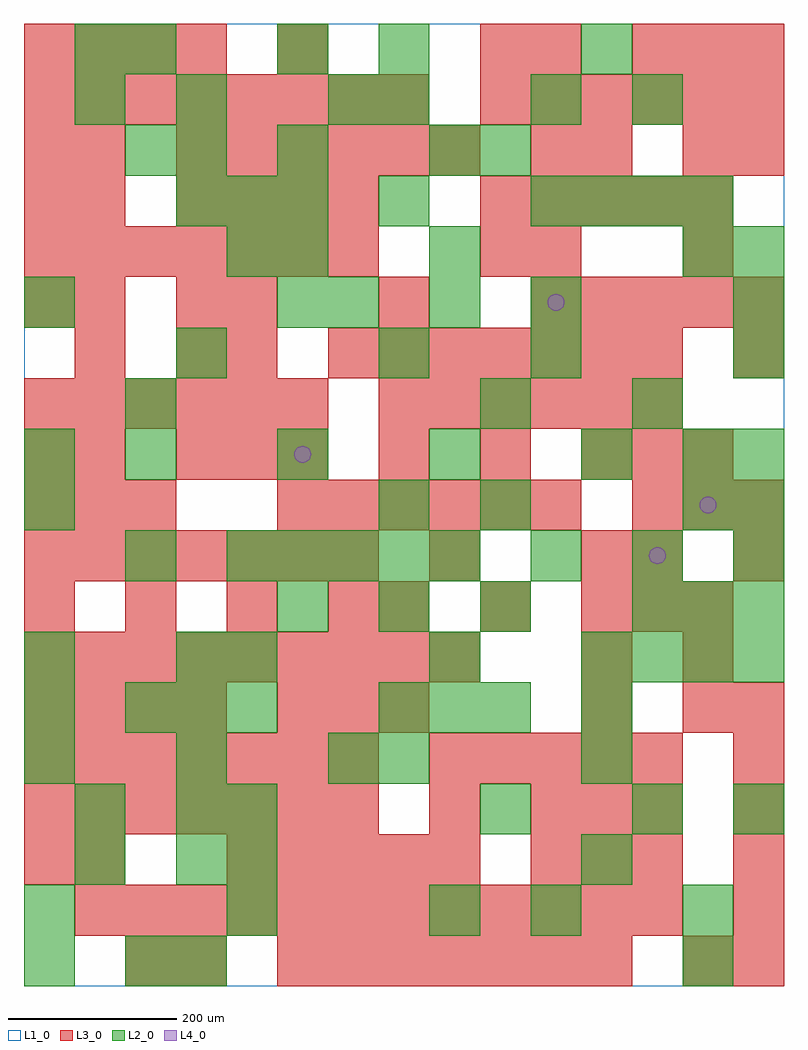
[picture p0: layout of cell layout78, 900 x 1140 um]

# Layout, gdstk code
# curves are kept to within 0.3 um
import gdstk
lib = gdstk.Library(unit=1e-6, precision=1e-09)
def R(c, l, rs):  # rectangles x0, y0, x1, y1
    for r in rs: c.add(gdstk.rectangle(r[:2], r[2:], *l))
def A(c, l, x, y, w, h, nx, ny, dx, dy):  # array of equal rectangles
    R(c, l, [(x+i*dx, y+j*dy, x+i*dx+w, y+j*dy+h) for i in range(nx) for j in range(ny)])
def P(c, l, *ps):  # polygons
    for p in ps: c.add(gdstk.Polygon(p, *l))
L1_0 = (1, 0)
L2_0 = (2, 0)
L3_0 = (3, 0)
L4_0 = (4, 0)

layout78 = lib.new_cell('layout78')
R(layout78, L1_0, [(0,0,900,1140)])
A(layout78, L2_0, 0, 60, 60, 60, 3, 1, 240, 0)
A(layout78, L2_0, 0, 240, 60, 60, 3, 1, 180, 0)
A(layout78, L2_0, 120, 300, 60, 60, 3, 1, 60, 0)
A(layout78, L2_0, 420, 300, 60, 60, 3, 1, 60, 0)
A(layout78, L2_0, 660, 360, 60, 60, 4, 1, 60, 0)
A(layout78, L2_0, 300, 420, 60, 60, 3, 1, 120, 0)
A(layout78, L2_0, 720, 420, 60, 60, 3, 1, 60, 0)
A(layout78, L2_0, 240, 480, 60, 60, 5, 1, 60, 0)
A(layout78, L2_0, 600, 480, 60, 60, 3, 1, 120, 0)
A(layout78, L2_0, 420, 540, 60, 60, 1, 3, 0, 180)
A(layout78, L2_0, 120, 600, 60, 60, 4, 1, 180, 0)
A(layout78, L2_0, 840, 720, 60, 60, 1, 3, 0, 60)
A(layout78, L2_0, 360, 780, 60, 60, 3, 1, 120, 0)
A(layout78, L2_0, 300, 840, 60, 60, 1, 3, 0, 120)
A(layout78, L2_0, 180, 900, 60, 60, 3, 1, 60, 0)
A(layout78, L2_0, 600, 900, 60, 60, 4, 1, 60, 0)
R(layout78, L2_0, [(0,0,60,60), (120,0,180,60), (180,0,240,60), (780,0,840,60), (600,60,660,120), (780,60,840,120), (60,120,120,180), (180,120,240,180), (240,120,300,180), (660,120,720,180), (60,180,120,240), (180,180,240,240), (240,180,300,240), (540,180,600,240), (720,180,780,240), (840,180,900,240), (420,240,480,300), (660,240,720,300), (0,300,60,360), (660,300,720,360), (0,360,60,420), (180,360,240,420), (240,360,300,420), (480,360,540,420), (120,480,180,540), (0,540,60,600), (540,540,600,600), (780,540,840,600), (840,540,900,600), (0,600,60,660), (780,600,840,660), (840,600,900,660), (120,660,180,720), (540,660,600,720), (720,660,780,720), (180,720,240,780), (600,720,660,780), (0,780,60,840), (300,780,360,840), (240,840,300,900), (480,840,540,900), (780,840,840,900), (120,960,180,1020), (180,960,240,1020), (480,960,540,1020), (540,960,600,1020), (60,1020,120,1080), (180,1020,240,1080), (360,1020,420,1080), (420,1020,480,1080), (600,1020,660,1080), (720,1020,780,1080), (60,1080,120,1140), (120,1080,180,1140), (420,1080,480,1140), (660,1080,720,1140)])
A(layout78, L3_0, 300, 0, 60, 60, 7, 1, 60, 0)
A(layout78, L3_0, 840, 0, 60, 60, 1, 6, 0, 60)
A(layout78, L3_0, 60, 60, 60, 60, 12, 1, 60, 0)
A(layout78, L3_0, 240, 120, 60, 60, 5, 1, 60, 0)
A(layout78, L3_0, 600, 120, 60, 60, 3, 2, 60, 60)
A(layout78, L3_0, 0, 180, 60, 60, 7, 2, 60, 60)
A(layout78, L3_0, 480, 240, 60, 60, 5, 1, 60, 0)
A(layout78, L3_0, 0, 300, 60, 60, 4, 2, 60, 780)
A(layout78, L3_0, 300, 300, 60, 60, 3, 1, 60, 0)
A(layout78, L3_0, 780, 300, 60, 60, 1, 3, 0, 60)
A(layout78, L3_0, 0, 360, 60, 60, 9, 1, 60, 0)
A(layout78, L3_0, 0, 420, 60, 60, 4, 1, 120, 0)
A(layout78, L3_0, 420, 420, 60, 60, 3, 2, 120, 180)
A(layout78, L3_0, 0, 480, 60, 60, 7, 2, 60, 360)
A(layout78, L3_0, 840, 480, 60, 60, 1, 3, 0, 240)
A(layout78, L3_0, 0, 540, 60, 60, 3, 1, 60, 0)
A(layout78, L3_0, 300, 540, 60, 60, 6, 1, 60, 0)
A(layout78, L3_0, 720, 540, 60, 60, 3, 2, 60, 540)
A(layout78, L3_0, 180, 600, 60, 60, 3, 1, 60, 0)
A(layout78, L3_0, 0, 660, 60, 60, 6, 1, 60, 0)
A(layout78, L3_0, 420, 660, 60, 60, 6, 1, 60, 0)
A(layout78, L3_0, 360, 720, 60, 60, 7, 1, 60, 0)
A(layout78, L3_0, 240, 780, 60, 60, 3, 1, 180, 0)
A(layout78, L3_0, 660, 780, 60, 60, 4, 1, 60, 0)
A(layout78, L3_0, 600, 840, 60, 60, 1, 3, 0, 120)
A(layout78, L3_0, 180, 900, 60, 60, 4, 1, 60, 0)
A(layout78, L3_0, 540, 900, 60, 60, 5, 1, 60, 0)
A(layout78, L3_0, 180, 960, 60, 60, 6, 1, 60, 0)
A(layout78, L3_0, 0, 1020, 60, 60, 8, 1, 60, 0)
A(layout78, L3_0, 540, 1020, 60, 60, 6, 1, 60, 0)
R(layout78, L3_0, [(120,0,180,60), (180,0,240,60), (780,0,840,60), (0,120,60,180), (60,120,120,180), (480,180,540,240), (660,300,720,360), (660,360,720,420), (720,420,780,480), (480,480,540,540), (660,480,720,540), (720,480,780,540), (0,600,60,660), (60,600,120,660), (720,600,780,660), (780,600,840,660), (60,720,120,780), (180,720,240,780), (240,720,300,780), (0,780,60,840), (60,780,120,840), (180,780,240,840), (540,840,600,900), (780,840,840,900), (0,900,60,960), (60,900,120,960), (0,960,60,1020), (60,960,120,1020), (660,960,720,1020), (780,960,840,1020), (300,1080,360,1140), (540,1080,600,1140)])
P(layout78, L4_0, [(340,630),(339.239,633.827),(337.071,637.071),(333.827,639.239),(330,640),(326.173,639.239),(322.929,637.071),(320.761,633.827),(320,630),(320.761,626.173),(322.929,622.929),(326.173,620.761),(330,620),(333.827,620.761),(337.071,622.929),(339.239,626.173)],
  [(640,810),(639.239,813.827),(637.071,817.071),(633.827,819.239),(630,820),(626.173,819.239),(622.929,817.071),(620.761,813.827),(620,810),(620.761,806.173),(622.929,802.929),(626.173,800.761),(630,800),(633.827,800.761),(637.071,802.929),(639.239,806.173)],
  [(760,510),(759.239,513.827),(757.071,517.071),(753.827,519.239),(750,520),(746.173,519.239),(742.929,517.071),(740.761,513.827),(740,510),(740.761,506.173),(742.929,502.929),(746.173,500.761),(750,500),(753.827,500.761),(757.071,502.929),(759.239,506.173)],
  [(820,570),(819.239,573.827),(817.071,577.071),(813.827,579.239),(810,580),(806.173,579.239),(802.929,577.071),(800.761,573.827),(800,570),(800.761,566.173),(802.929,562.929),(806.173,560.761),(810,560),(813.827,560.761),(817.071,562.929),(819.239,566.173)])

lib.write_gds('layout78.gds')
